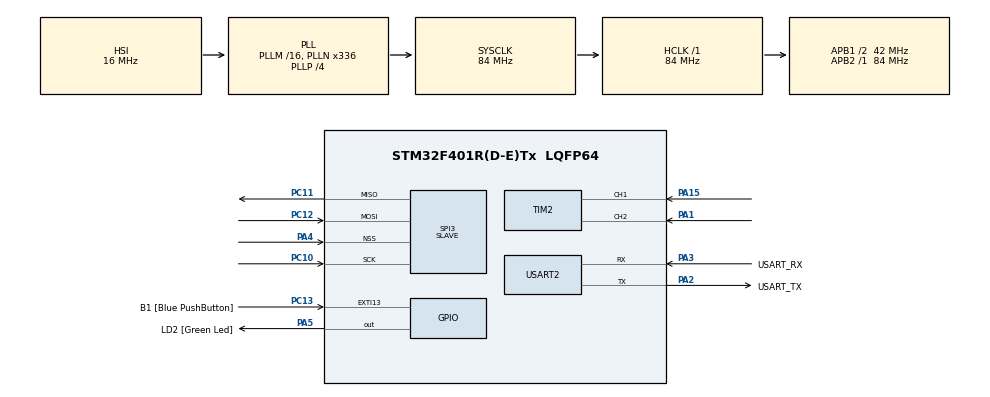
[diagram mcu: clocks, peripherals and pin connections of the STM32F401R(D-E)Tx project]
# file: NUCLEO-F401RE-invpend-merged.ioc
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Dma.Request0=SPI3_RX
Dma.Request1=SPI3_TX
Dma.SPI3_RX.0.Direction=DMA_PERIPH_TO_MEMORY
Dma.SPI3_RX.0.FIFOMode=DMA_FIFOMODE_DISABLE
Dma.SPI3_RX.0.Instance=DMA1_Stream0
Dma.SPI3_RX.0.MemDataAlignment=DMA_MDATAALIGN_BYTE
Dma.SPI3_RX.0.MemInc=DMA_MINC_ENABLE
Dma.SPI3_RX.0.Mode=DMA_CIRCULAR
Dma.SPI3_RX.0.PeriphDataAlignment=DMA_PDATAALIGN_BYTE
Dma.SPI3_RX.0.PeriphInc=DMA_PINC_DISABLE
Dma.SPI3_RX.0.Priority=DMA_PRIORITY_VERY_HIGH
Dma.SPI3_TX.1.Direction=DMA_MEMORY_TO_PERIPH
Dma.SPI3_TX.1.FIFOMode=DMA_FIFOMODE_DISABLE
Dma.SPI3_TX.1.Instance=DMA1_Stream5
Dma.SPI3_TX.1.MemDataAlignment=DMA_MDATAALIGN_BYTE
Dma.SPI3_TX.1.MemInc=DMA_MINC_ENABLE
Dma.SPI3_TX.1.Mode=DMA_CIRCULAR
Dma.SPI3_TX.1.PeriphDataAlignment=DMA_PDATAALIGN_BYTE
Dma.SPI3_TX.1.PeriphInc=DMA_PINC_DISABLE
Dma.SPI3_TX.1.Priority=DMA_PRIORITY_VERY_HIGH
Mcu.Family=STM32F4
Mcu.Name=STM32F401R(D-E)Tx
Mcu.Package=LQFP64
NVIC.DMA1_Stream0_IRQn=true\:0\:0\:false\:false\:true\:false\:true\:true
NVIC.DMA1_Stream5_IRQn=true\:0\:0\:false\:false\:true\:false\:true\:true
NVIC.PriorityGroup=NVIC_PRIORITYGROUP_4
NVIC.USART2_IRQn=true\:0\:0\:false\:false\:true\:true\:true\:true
PA1.GPIO_PuPd=GPIO_PULLUP
PA1.Signal=S_TIM2_CH2
PA13.GPIO_Label=TMS
PA13.Mode=Trace_Asynchronous_SW
PA13.Signal=SYS_JTMS-SWDIO
PA14.GPIO_Label=TCK
PA14.Mode=Trace_Asynchronous_SW
PA14.Signal=SYS_JTCK-SWCLK
PA15.GPIO_PuPd=GPIO_PULLUP
PA15.Signal=S_TIM2_CH1_ETR
PA2.GPIO_Label=USART_TX
PA2.GPIO_Mode=GPIO_MODE_AF_PP
PA2.GPIO_PuPd=GPIO_NOPULL
PA2.GPIO_Speed=GPIO_SPEED_FREQ_LOW
PA2.Mode=Asynchronous
PA2.Signal=USART2_TX
PA3.GPIO_Label=USART_RX
PA3.GPIO_Mode=GPIO_MODE_AF_PP
PA3.GPIO_PuPd=GPIO_NOPULL
PA3.GPIO_Speed=GPIO_SPEED_FREQ_LOW
PA3.Mode=Asynchronous
PA3.Signal=USART2_RX
PA4.Mode=NSS_Signal_Hard_Input
PA4.Signal=SPI3_NSS
PA5.GPIO_Label=LD2 [Green Led]
PA5.GPIO_Mode=GPIO_MODE_OUTPUT_PP
PA5.GPIO_PuPd=GPIO_NOPULL
PA5.GPIO_Speed=GPIO_SPEED_FREQ_LOW
PA5.Signal=GPIO_Output
PB3.GPIO_Label=SWO
PB3.Mode=Trace_Asynchronous_SW
PB3.Signal=SYS_JTDO-SWO
PC10.Mode=Full_Duplex_Slave
PC10.Signal=SPI3_SCK
PC11.Mode=Full_Duplex_Slave
PC11.Signal=SPI3_MISO
PC12.Mode=Full_Duplex_Slave
PC12.Signal=SPI3_MOSI
PC13-ANTI_TAMP.GPIO_Label=B1 [Blue PushButton]
PC13-ANTI_TAMP.GPIO_ModeDefaultEXTI=GPIO_MODE_IT_FALLING
PC13-ANTI_TAMP.GPIO_PuPd=GPIO_NOPULL
PC13-ANTI_TAMP.Signal=GPXTI13
PC14-OSC32_IN.Mode=LSE-External-Oscillator
PC14-OSC32_IN.Signal=RCC_OSC32_IN
PC15-OSC32_OUT.Mode=LSE-External-Oscillator
PC15-OSC32_OUT.Signal=RCC_OSC32_OUT
PH0\ -\ OSC_IN.Mode=HSE-External-Clock-Source
PH0\ -\ OSC_IN.Signal=RCC_OSC_IN
PH1\ -\ OSC_OUT.Mode=HSE-External-Clock-Source
PH1\ -\ OSC_OUT.Signal=RCC_OSC_OUT
ProjectManager.HeapSize=0x200
ProjectManager.StackSize=0x400
ProjectManager.TargetToolchain=STM32CubeIDE
RCC.48MHZClocksFreq_Value=48000000
RCC.AHBFreq_Value=84000000
RCC.APB1CLKDivider=RCC_HCLK_DIV2
RCC.APB1Freq_Value=42000000
RCC.APB1TimFreq_Value=84000000
RCC.APB2Freq_Value=84000000
RCC.APB2TimFreq_Value=84000000
RCC.CortexFreq_Value=84000000
RCC.HCLKFreq_Value=84000000
RCC.HSE_VALUE=8000000
RCC.HSI_VALUE=16000000
RCC.PLLN=336
RCC.PLLP=RCC_PLLP_DIV4
RCC.PLLQ=7
RCC.SYSCLKFreq_VALUE=84000000
RCC.SYSCLKSource=RCC_SYSCLKSOURCE_PLLCLK
RCC.VCOOutputFreq_Value=336000000
SH.S_TIM2_CH1_ETR.0=TIM2_CH1,Encoder_Interface
SH.S_TIM2_CH2.0=TIM2_CH2,Encoder_Interface
SPI3.Direction=SPI_DIRECTION_2LINES
SPI3.Mode=SPI_MODE_SLAVE
SPI3.VirtualNSS=VM_NSSHARD
SPI3.VirtualType=VM_SLAVE
TIM2.EncoderMode=TIM_ENCODERMODE_TI12
USART2.VirtualMode=VM_ASYNC
board=NUCLEO-F401RE

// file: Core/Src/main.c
/* USER CODE BEGIN Header */
/**
  ******************************************************************************
  * @file           : main.c
  * @brief          : Main program body
  ******************************************************************************
  * @attention
  *
  * Copyright (c) 2024 STMicroelectronics.
  * All rights reserved.
  *
  * This software is licensed under terms that can be found in the LICENSE file
  * in the root directory of this software component.
  * If no LICENSE file comes with this software, it is provided AS-IS.
  *
  ******************************************************************************
  */
/* USER CODE END Header */
#include "main.h"

SPI_HandleTypeDef hspi3;
DMA_HandleTypeDef hdma_spi3_rx;
DMA_HandleTypeDef hdma_spi3_tx;

TIM_HandleTypeDef htim2;

UART_HandleTypeDef huart2;

/* USER CODE BEGIN PV */

char uart_buf[UART_BUFFER_SIZE];
int  uart_buf_len;
// Global flags
volatile uint8_t uart_xmit_flag = 0;
volatile uint8_t uart_err_flag = 0;
volatile uint8_t spi_txrx_flag = 0;
volatile uint8_t spi_err_flag = 0;

static uint8_t spi_rx_buf[SPI_BUFFER_SIZE];
static uint8_t spi_tx_buf[SPI_BUFFER_SIZE];
static int16_t recv_number1=0;   // stepper motor acceleration command in steps/s^2
static int16_t recv_number2=0;   // no use for this yet
static int16_t recv_number3=0;   // no use for this yet
static int16_t send_number1=0;	   // encoder position in increments
static int16_t send_number2=0;       // stepper motor angle in microsteps
static int16_t send_number3=0;	   // stepper motor angle in microsteps per second

static int16_t accel_cmd = 0;
static int32_t encoder_pos=0;
static int32_t rotor_pos=0;
static int16_t rotor_vel=0;

static uint16_t rotor_pos_cnt=0;

static volatile uint16_t gLastError;

L6474_Init_t gL6474InitParams =
{
	MAX_ACCEL,           	/// Acceleration rate in step/s2. Range: (0..+inf).
	MAX_DECEL,           	/// Deceleration rate in step/s2. Range: (0..+inf).
	MAX_SPEED,              /// Maximum speed in step/s. Range: (30..10000].
	MIN_SPEED,              /// Minimum speed in step/s. Range: [30..10000).
	MAX_TORQUE_CONFIG, 		/// Torque regulation current in mA. (TVAL register) Range: 31.25mA to 4000mA.
	OVERCURRENT_THRESHOLD, 	/// Overcurrent threshold (OCD_TH register). Range: 375mA to 6000mA.
   L6474_CONFIG_OC_SD_ENABLE,         ///Overcurrent shutwdown (OC_SD field of CONFIG register).
   L6474_CONFIG_EN_TQREG_TVAL_USED,   /// Torque regulation method (EN_TQREG field of CONFIG register).
   L6474_STEP_SEL_1_16,               /// Step selection (STEP_SEL field of STEP_MODE register).
   L6474_SYNC_SEL_1_2,                /// Sync selection (SYNC_SEL field of STEP_MODE register).
   L6474_FAST_STEP_12us,              /// Fall time value (T_FAST field of T_FAST register). Range: 2us to 32us.
   L6474_TOFF_FAST_8us,               /// Maximum fast decay time (T_OFF field of T_FAST register). Range: 2us to 32us.
   3,                                 /// Minimum ON time in us (TON_MIN register). Range: 0.5us to 64us.
   21,                                /// Minimum OFF time in us (TOFF_MIN register). Range: 0.5us to 64us.
   L6474_CONFIG_TOFF_044us,           /// Target Swicthing Period (field TOFF of CONFIG register).
   L6474_CONFIG_SR_320V_us,           /// Slew rate (POW_SR field of CONFIG register).
   L6474_CONFIG_INT_16MHZ,            /// Clock setting (OSC_CLK_SEL field of CONFIG register).
   (L6474_ALARM_EN_OVERCURRENT      |
    L6474_ALARM_EN_THERMAL_SHUTDOWN |
    L6474_ALARM_EN_THERMAL_WARNING  |
    L6474_ALARM_EN_UNDERVOLTAGE     |
    L6474_ALARM_EN_SW_TURN_ON       |
    L6474_ALARM_EN_WRONG_NPERF_CMD)    /// Alarm (ALARM_EN register).
};

/* USER CODE END PV */

void SystemClock_Config(void);
static void MX_GPIO_Init(void);
static void MX_DMA_Init(void);
static void MX_USART2_UART_Init(void);
static void MX_SPI3_Init(void);
static void MX_TIM2_Init(void);
/* USER CODE BEGIN PFP */
uint8_t encoder_position_read(Quadrature_Encoder_TypeDef *encoder, TIM_HandleTypeDef *htim3);
static void MyFlagInterruptHandler(void);
int32_t swap_Endians_32(int32_t value);
int16_t swap_Endians_16(int16_t value);
void Debug_TimerStatus(void);
/* USER CODE END PFP */

int main(void)
{

  /* USER CODE BEGIN 1 */
  uint8_t encoder_range_error;

  uint8_t state_main = START_STATE_MAIN;
  //uint32_t state_main_counter = 0; // counts the amount of times the same state was entered
  uint32_t state_cycle_cnt = 0; // counts the amount of times the circular part of the main state machine is looped
  static Chrono_TypeDef main_cycletimer= {0,0,0.0}; //Chronometer for circular part of the main state machine
 // uint8_t state_uart = 0;
  uint32_t err_cnt = 0;
  uint32_t overtime_cnt = 0;

  for(int i=0;i<SPI_BUFFER_SIZE;i++)
  {
	  spi_rx_buf[i]=0;
	  spi_tx_buf[i]=0;
  }

  //Declare and initialize encoder
  Quadrature_Encoder_TypeDef encoder_inst = {0,0,0,0,0,0,0,0,0,0,0,0,0,FALSE,FALSE,FALSE,COUNTS_PER_TURN};

  /* USER CODE END 1 */

  /* MCU Configuration--------------------------------------------------------*/

  /* Reset of all peripherals, Initializes the Flash interface and the Systick. */
  HAL_Init();

  /* Configure the system clock */
  SystemClock_Config();

  /* USER CODE BEGIN SysInit */
  MX_GPIO_Init();
  //----- Init of the Motor control library
  /* Set the L6474 library to use 1 device */
	BSP_MotorControl_SetNbDevices(BSP_MOTOR_CONTROL_BOARD_ID_L6474, 1);
	/* When BSP_MotorControl_Init is called with NULL pointer,                  */
	/* the L6474 registers and parameters are set with the predefined values from file   */
	/* l6474_target_config.h, otherwise the registers are set using the   */
	/* L6474_Init_t pointer structure                */
	/* The first call to BSP_MotorControl_Init initializes the first device     */
	/* whose Id is 0.                                                           */
	/* The nth call to BSP_MotorControl_Init initializes the nth device         */
	/* whose Id is n-1.                                                         */
	/* Uncomment the call to BSP_MotorControl_Init below to initialize the      */
	/* device with the structure gL6474InitParams declared in the the main.c file */
	/* and comment the subsequent call having the NULL pointer                   */
	BSP_MotorControl_Init(BSP_MOTOR_CONTROL_BOARD_ID_L6474, &gL6474InitParams);
	//BSP_MotorControl_Init(BSP_MOTOR_CONTROL_BOARD_ID_L6474, NULL);

  /* Attach the function MyFlagInterruptHandler (defined below) to the flag interrupt */
  BSP_MotorControl_AttachFlagInterrupt(MyFlagInterruptHandler);

  /* Attach the function Error_Handler (defined below) to the error Handler*/

  // wake-up move
  /*
  BSP_MotorControl_AttachErrorHandler(Error_Handler);
  BSP_MotorControl_SetHome(0, 0);
  BSP_MotorControl_GoTo(0, 100);
  BSP_MotorControl_WaitWhileActive(0);
  BSP_MotorControl_GoTo(0, 0);
  BSP_MotorControl_WaitWhileActive(0);
  HAL_Delay(2000); // wait for pendulum to settle
  */

  //initialize acceleration control
  Init_L6472_Acceleration_Control(&gL6474InitParams, T_SAMPLE);

  //init chronometer
  Chrono_Init();

  /* USER CODE END SysInit */

  /* Initialize all configured peripherals */
  //MX_GPIO_Init();
  MX_DMA_Init();
  MX_USART2_UART_Init();
  MX_SPI3_Init();
  MX_TIM2_Init();
  /* USER CODE BEGIN 2 */

  // Say something
  uart_buf_len = sprintf(uart_buf, "Hello world!\r\n");
  HAL_UART_Transmit(&huart2, (uint8_t *)uart_buf, uart_buf_len, 100);

  // Initialize encoder
  HAL_TIM_Encoder_Start(&htim2, TIM_CHANNEL_ALL);

  // Start RX DMA in Circular Mode
  if (HAL_SPI_TransmitReceive_DMA(&hspi3, spi_tx_buf, spi_rx_buf, SPI_BUFFER_SIZE) != HAL_OK)
  {
      Error_Handler(51); // Handle initialization error
  }

  /* USER CODE END 2 */

  /* Infinite loop */
  while (1)
  {

    /* USER CODE BEGIN 3 */

	  // UART state machine
	  /*
		switch (state_uart)
		{
		  case 0:
			  // Idle
			  if ((suc_cnt % UART_DECIMATION) == 0 && suc_cnt != 0 )
			  {
				  state_uart = 1;
			  }
			  break;

		  case 1:

			// Print newline
				switch(HAL_UART_Getstate(&huart2))
				{
				case HAL_UART_state_READY:
					uart_buf_len = sprintf(uart_buf, "success: %d, errors: %d, motcmd = %.3f, encoder = %.3f, motfb = %.3f \r\n", (unsigned int)suc_cnt, (unsigned int)err_cnt, recv_number1, send_number1, send_number2);
					HAL_UART_Transmit_IT(&huart2, (uint8_t *)uart_buf, uart_buf_len);

				default:
				  break;
				}

			state_uart = 0;
			break;

		  case 2:
			  // wait for transmit flag
			  if (uart_xmit_flag)
			  {
				  uart_xmit_flag =0;
				  state_uart = 0;
				  break;
			  }
			  if (uart_err_flag && HAL_UART_Getstate(&huart2) == HAL_UART_state_READY)
			  {
			  // Clear flag and try again
				uart_err_flag = 0;
				state_uart = 1;
				break;
			  }
		  default:
			break;

		} //close switch
		*/
		//-----------------------------------------------
		switch(state_main)
		{
		// sequential states
		//-------------------
		  case 0:
			  // START state: wait for DMA SPI to have valid date
			  if (spi_txrx_flag == 1){
				  state_main=1;
				  Chrono_Mark(&main_cycletimer);
				  uart_buf_len = sprintf(uart_buf, "SPI connection established. Starting system... \r\n");
				  HAL_UART_Transmit(&huart2, (uint8_t *)uart_buf, uart_buf_len, 100);
			  }
			  break;
		// looping states
		//-----------------
		  case 1:
			// Read encoder
			encoder_range_error = encoder_position_read(&encoder_inst, &htim2);
			encoder_pos = encoder_inst.position_steps;

			// read rotor position
			if (rotor_pos_cnt % STEPPER_POSITION_DECIMATION == 0) {
				rotor_pos_cnt = 0;
				rotor_pos = GetPosition_L6472_Acceleration_Control();
			}
			rotor_pos_cnt++;

			// read rotor velocity
			rotor_vel = GetVelocity_L6472_Acceleration_Control();

			__disable_irq();
			send_number1 = swap_Endians_16((int16_t)encoder_pos);
			send_number2 = swap_Endians_16((int16_t)rotor_pos);
			send_number3 = swap_Endians_16(rotor_vel);
			__enable_irq();

			state_main++;
			break;
		  case 2:
			if (spi_txrx_flag == 1){
				spi_txrx_flag = 0;
				state_main=4;
				__disable_irq();
				accel_cmd = swap_Endians_16(recv_number1);
				__enable_irq();
			}
			// keep track of waiting time in this state
			if (Chrono_GetDiffNoMark(&main_cycletimer) > 1.5 * T_SAMPLE) {
				 overtime_cnt++;
				 state_main=3;
				 uart_buf_len = sprintf(uart_buf, "overtime: %" PRIu32 "\r\n", overtime_cnt);
				 //uart_buf_len = sprintf(uart_buf, "overtime: %u\r\n", overtime_cnt);
				 HAL_UART_Transmit_IT(&huart2, (uint8_t *)uart_buf, uart_buf_len);
			 }
			break;

		  case 3:
			  // keep periodically reading rotor to check for overrange
			 if (Chrono_GetDiffNoMark(&main_cycletimer) > 0.05) {
				 Chrono_Mark(&main_cycletimer);
				 rotor_pos = GetPosition_L6472_Acceleration_Control();
			 }
			if (spi_txrx_flag == 1){
				spi_txrx_flag = 0;
				Chrono_Mark(&main_cycletimer);
				state_main=4;
				__disable_irq();
				accel_cmd = swap_Endians_16(recv_number1);
				__enable_irq();
			}
			break;
		  case 4:
			  // control actions

#ifdef POSITION_CONTROL
				//run control if motor inactive or standby
				if(BSP_MotorControl_GetDevicestate(0) >= 8) {
					BSP_MotorControl_GoTo(0, (int32_t) (accel_cmd));
				}
#endif
#ifdef ACCELERATION_CONTROL

				Run_L6472_Acceleration_Control(accel_cmd);
				//Debug_TimerStatus();
#endif
				state_main = 1;
				state_cycle_cnt++;
				Chrono_Mark(&main_cycletimer);
			  break;
		  case 50:
			  // Rotor out of safe range
			  BSP_MotorControl_HardStop(0);
			  uart_buf_len = sprintf(uart_buf, "Error 50: Rotor out of safe range\r\n");
			  HAL_UART_Transmit(&huart2, (uint8_t *)uart_buf, uart_buf_len, 100);
			  state_main=99;
		  case 99:
			  ;// do nothting wait state
		  default:
			  break;
		}

		// update ARR of PWM timer when count is close to 0
		PostProcess_StepClockHandler_L6472_Acceleration_Control();

		// Error checks
		if (state_main!=99 && (float)labs(rotor_pos) > MAX_DEFLECTION_REV * STEPS_PER_TURN) {
			// go to error state 50
			state_main = 50;
			}
	  // count any communication errors
	  if (spi_err_flag)
	  {
		err_cnt++;
		spi_err_flag = 0; // Clear flag

	   }

  } // close while(1)
  /* USER CODE END 3 */
}

void SystemClock_Config(void)
{
  RCC_OscInitTypeDef RCC_OscInitStruct = {0};
  RCC_ClkInitTypeDef RCC_ClkInitStruct = {0};

  /** Configure the main internal regulator output voltage
  */
  __HAL_RCC_PWR_CLK_ENABLE();
  __HAL_PWR_VOLTAGESCALING_CONFIG(PWR_REGULATOR_VOLTAGE_SCALE2);

  /** Initializes the RCC Oscillators according to the specified parameters
  * in the RCC_OscInitTypeDef structure.
  */
  RCC_OscInitStruct.OscillatorType = RCC_OSCILLATORTYPE_HSI;
  RCC_OscInitStruct.HSIState = RCC_HSI_ON;
  RCC_OscInitStruct.HSICalibrationValue = RCC_HSICALIBRATION_DEFAULT;
  RCC_OscInitStruct.PLL.PLLState = RCC_PLL_ON;
  RCC_OscInitStruct.PLL.PLLSource = RCC_PLLSOURCE_HSI;
  RCC_OscInitStruct.PLL.PLLM = 16;
  RCC_OscInitStruct.PLL.PLLN = 336;
  RCC_OscInitStruct.PLL.PLLP = RCC_PLLP_DIV4;
  RCC_OscInitStruct.PLL.PLLQ = 7;
  if (HAL_RCC_OscConfig(&RCC_OscInitStruct) != HAL_OK)
  {
    Error_Handler(0);
  }

  /** Initializes the CPU, AHB and APB buses clocks
  */
  RCC_ClkInitStruct.ClockType = RCC_CLOCKTYPE_HCLK|RCC_CLOCKTYPE_SYSCLK
                              |RCC_CLOCKTYPE_PCLK1|RCC_CLOCKTYPE_PCLK2;
  RCC_ClkInitStruct.SYSCLKSource = RCC_SYSCLKSOURCE_PLLCLK;
  RCC_ClkInitStruct.AHBCLKDivider = RCC_SYSCLK_DIV1;
  RCC_ClkInitStruct.APB1CLKDivider = RCC_HCLK_DIV2;
  RCC_ClkInitStruct.APB2CLKDivider = RCC_HCLK_DIV1;

  if (HAL_RCC_ClockConfig(&RCC_ClkInitStruct, FLASH_LATENCY_2) != HAL_OK)
  {
    Error_Handler(1);
  }
}

static void MX_SPI3_Init(void)
{

  /* SPI3 parameter configuration*/
  hspi3.Instance = SPI3;
  hspi3.Init.Mode = SPI_MODE_SLAVE;
  hspi3.Init.Direction = SPI_DIRECTION_2LINES;
  hspi3.Init.DataSize = SPI_DATASIZE_8BIT;
  hspi3.Init.CLKPolarity = SPI_POLARITY_LOW;
  hspi3.Init.CLKPhase = SPI_PHASE_1EDGE;
  hspi3.Init.NSS = SPI_NSS_HARD_INPUT;
  hspi3.Init.FirstBit = SPI_FIRSTBIT_MSB;
  hspi3.Init.TIMode = SPI_TIMODE_DISABLE;
  hspi3.Init.CRCCalculation = SPI_CRCCALCULATION_DISABLE;
  hspi3.Init.CRCPolynomial = 10;
  if (HAL_SPI_Init(&hspi3) != HAL_OK)
  {
    Error_Handler(10);
  }

}

static void MX_TIM2_Init(void)
{

  TIM_Encoder_InitTypeDef sConfig = {0};
  TIM_MasterConfigTypeDef sMasterConfig = {0};

  htim2.Instance = TIM2;
  htim2.Init.Prescaler = 0;
  htim2.Init.CounterMode = TIM_COUNTERMODE_UP;
  htim2.Init.Period = 4294967295;
  htim2.Init.ClockDivision = TIM_CLOCKDIVISION_DIV1;
  htim2.Init.AutoReloadPreload = TIM_AUTORELOAD_PRELOAD_DISABLE;
  sConfig.EncoderMode = TIM_ENCODERMODE_TI12;
  sConfig.IC1Polarity = TIM_ICPOLARITY_RISING;
  sConfig.IC1Selection = TIM_ICSELECTION_DIRECTTI;
  sConfig.IC1Prescaler = TIM_ICPSC_DIV1;
  sConfig.IC1Filter = 0;
  sConfig.IC2Polarity = TIM_ICPOLARITY_RISING;
  sConfig.IC2Selection = TIM_ICSELECTION_DIRECTTI;
  sConfig.IC2Prescaler = TIM_ICPSC_DIV1;
  sConfig.IC2Filter = 0;
  if (HAL_TIM_Encoder_Init(&htim2, &sConfig) != HAL_OK)
  {
    Error_Handler(21);
  }
  sMasterConfig.MasterOutputTrigger = TIM_TRGO_RESET;
  sMasterConfig.MasterSlaveMode = TIM_MASTERSLAVEMODE_DISABLE;
  if (HAL_TIMEx_MasterConfigSynchronization(&htim2, &sMasterConfig) != HAL_OK)
  {
    Error_Handler(22);
  }

}

static void MX_USART2_UART_Init(void)
{

  huart2.Instance = USART2;
  huart2.Init.BaudRate = 115200;
  huart2.Init.WordLength = UART_WORDLENGTH_8B;
  huart2.Init.StopBits = UART_STOPBITS_1;
  huart2.Init.Parity = UART_PARITY_NONE;
  huart2.Init.Mode = UART_MODE_TX_RX;
  huart2.Init.HwFlowCtl = UART_HWCONTROL_NONE;
  huart2.Init.OverSampling = UART_OVERSAMPLING_16;
  if (HAL_UART_Init(&huart2) != HAL_OK)
  {
    Error_Handler(30);
  }

}

static void MX_DMA_Init(void)
{

  /* DMA controller clock enable */
  __HAL_RCC_DMA1_CLK_ENABLE();

  /* DMA interrupt init */
  /* DMA1_Stream0_IRQn interrupt configuration */
  HAL_NVIC_SetPriority(DMA1_Stream0_IRQn, 0, 0);
  HAL_NVIC_EnableIRQ(DMA1_Stream0_IRQn);
  /* DMA1_Stream5_IRQn interrupt configuration */
  HAL_NVIC_SetPriority(DMA1_Stream5_IRQn, 0, 0);
  HAL_NVIC_EnableIRQ(DMA1_Stream5_IRQn);

}

static void MX_GPIO_Init(void)
{
  GPIO_InitTypeDef GPIO_InitStruct = {0};

  /* GPIO Ports Clock Enable */
  __HAL_RCC_GPIOC_CLK_ENABLE();
  __HAL_RCC_GPIOH_CLK_ENABLE();
  __HAL_RCC_GPIOA_CLK_ENABLE();
  __HAL_RCC_GPIOB_CLK_ENABLE();

  /*Configure GPIO pin Output Level */
  HAL_GPIO_WritePin(LD2_GPIO_Port, LD2_Pin, GPIO_PIN_RESET);

  /*Configure GPIO pin : B1_Pin */
  GPIO_InitStruct.Pin = B1_Pin;
  GPIO_InitStruct.Mode = GPIO_MODE_IT_FALLING;
  GPIO_InitStruct.Pull = GPIO_NOPULL;
  HAL_GPIO_Init(B1_GPIO_Port, &GPIO_InitStruct);

  /*Configure GPIO pin : LD2_Pin */
  GPIO_InitStruct.Pin = LD2_Pin;
  GPIO_InitStruct.Mode = GPIO_MODE_OUTPUT_PP;
  GPIO_InitStruct.Pull = GPIO_NOPULL;
  GPIO_InitStruct.Speed = GPIO_SPEED_FREQ_LOW;
  HAL_GPIO_Init(LD2_GPIO_Port, &GPIO_InitStruct);

}

/* USER CODE BEGIN 4 */
/*
 * Encoder position read (returns signed integer)
 *
 * Includes capability for tracking pendulum excursion for Swing Up control.
 * This is developed and provided by Markus Dauberschmidt.  Please see
 * https://github.com/OevreFlataeker/steval_edukit_swingup
 *
 */

uint8_t encoder_position_read(Quadrature_Encoder_TypeDef *encoder, TIM_HandleTypeDef *htim) {

	int range_error = 0;

	 // Read current counter value
	    encoder->cnt3 = __HAL_TIM_GET_COUNTER(htim);

	    // Calculate delta explicitly with rollover handling
	    int32_t delta = (int32_t)(encoder->cnt3 - encoder->previous_cnt3);

	    encoder->position_steps += delta;

	    // Update previous counter
	    encoder->previous_cnt3 = encoder->cnt3;

	    // Handle range limits
	    if (encoder->position_steps < INT32_MIN) {
	        range_error = -1;
	        encoder->position_steps = INT32_MIN;
	    } else if (encoder->position_steps > INT32_MAX) {
	        range_error = 1;
	        encoder->position_steps = INT32_MAX;
	    }

	    // Subtract zeroing offset
	    encoder->position_steps -= encoder->position_init;

	    // Calculate position in revolutions
	    encoder->position = (float)encoder->position_steps / (float)encoder->counts_per_turn;

	/*
	 *  Detect if we passed the bottom, then re-arm peak flag
	 *  oppositeSigns returns true when we pass the bottom position
	 */

	if (__HAS_OPPOSITE_SIGNS(encoder->position_steps, encoder->previous_position))
	{
		encoder->peaked = FALSE;
		encoder->zero_crossed = TRUE;
	}

	if (!encoder->peaked) // We don't need to evaluate anymore if we hit a maximum when we're still in downward motion and didn't cross the minimum
	{
		// Add global maximum
		if (labs(encoder->position_steps) >= labs(encoder->global_max_position))
		{
			encoder->global_max_position = encoder->position_steps;
		}
		// Check if new maximum
		if (labs(encoder->position_steps) >= labs(encoder->max_position))
		{
			encoder->max_position = encoder->position_steps;
		}
		else
		{
			// We are at the peak and disable further checks until we traversed the minimum position again
			encoder->peaked = TRUE;
			encoder->handled_peak = FALSE;
		}
	}

	encoder->previous_position = encoder->position_steps;

	return range_error;
}

__STATIC_INLINE void DWT_Delay_us(volatile uint32_t microseconds)
{
	uint32_t clk_cycle_start = DWT->CYCCNT;

	/* Go to number of cycles for system */
	microseconds *= (RCC_HCLK_FREQ / 1000000);

	/* Delay till end */
	while ((DWT->CYCCNT - clk_cycle_start) < microseconds);
}

__STATIC_INLINE void DWT_Delay_until_cycle(volatile uint32_t cycle)
{
	while (DWT->CYCCNT < cycle);
}

int32_t swap_Endians_32(int32_t value)
{

	int32_t leftmost_byte;
	int32_t left_middle_byle;
	int32_t right_middle_byte;
	int32_t rightmost_byte;

	int32_t result;

    leftmost_byte = (value & 0x000000FF) >> 0;
    left_middle_byle = (value & 0x0000FF00) >> 8;
    right_middle_byte = (value & 0x00FF0000) >> 16;
    rightmost_byte = (value & 0xFF000000) >> 24;
    leftmost_byte <<= 24;
    left_middle_byle <<= 16;
    right_middle_byte <<= 8;
    rightmost_byte <<= 0;

    result = (leftmost_byte | left_middle_byle
              | right_middle_byte | rightmost_byte);

    return result;
}

int16_t swap_Endians_16(int16_t value)
{

	int16_t leftmost_byte;
	int16_t rightmost_byte;

	int16_t result;

    leftmost_byte = (value & 0x00FF) >> 0;
    rightmost_byte = (value & 0xFF00) >> 8;
    leftmost_byte <<= 8;
    rightmost_byte <<= 0;

    result = (leftmost_byte | rightmost_byte);

    return result;
}

void Debug_TimerStatus(void) {
    static uint32_t lastDebugTime = 0; // Timestamp of last debug print
    uint32_t currentTime = HAL_GetTick(); // Current system time in milliseconds
    TIM_HandleTypeDef hTimPwm1 = L6474_Board_Pwm1GetHandle();

   // Print debug information at most every 500 ms
   if ((currentTime - lastDebugTime) >= 500 && uart_xmit_flag == 1) {
	   uint32_t CNT = hTimPwm1.Instance->CNT;
	   uint32_t ARR = hTimPwm1.Instance->ARR;
	   uint32_t PSC = hTimPwm1.Instance->PSC;
	   uint32_t SR = hTimPwm1.Instance->SR;
	   uint32_t DIER = hTimPwm1.Instance->DIER;

	   // Combine all debug information into a single string
	   int uart_buf_len = sprintf(
		   uart_buf,
		   "==== Timer Debug Info ====\r\n"
		   "CNT: %lu, ARR: %lu, PSC: %lu, SR: 0x%lX, DIER: 0x%lX\r\n"
		   "==========================\r\n",
		   CNT, ARR, PSC, SR, DIER
	   );

	   // Initiate non-blocking UART transmission
	   if (HAL_UART_Transmit_IT(&huart2, (uint8_t *)uart_buf, uart_buf_len) == HAL_OK) {
		   uart_xmit_flag = 0; // Mark UART as busy
	   }

	   lastDebugTime = currentTime; // Update the timestamp
   }
}

//------------------------------------------------------
// Callbacks

void HAL_SPI_TxRxCpltCallback (SPI_HandleTypeDef * hspi)
{
	spi_txrx_flag = 1;
	// copy send_numberx to tx buffer
	memcpy(&spi_tx_buf[0], &send_number1 , 2);
	memcpy(&spi_tx_buf[2], &send_number2 , 2);
	memcpy(&spi_tx_buf[4], &send_number3 , 2);
	// copy rx buffer to recv_numberx
	memcpy(&recv_number1, &spi_rx_buf[0], 2);
	memcpy(&recv_number2, &spi_rx_buf[2], 2);
	memcpy(&recv_number3, &spi_rx_buf[4], 2);

}

void HAL_SPI_ErrorCallback (SPI_HandleTypeDef * hspi)
{
  // raise flag
  spi_err_flag = 1;
}

void HAL_UART_TxCpltCallback (UART_HandleTypeDef * huart)
{
  // raise flag
  uart_xmit_flag = 1;
}

void HAL_UART_ErrorCallback (UART_HandleTypeDef * huart)
{
  // Set CS pin to high and raise flag
	uart_err_flag = 1;
}

void MyFlagInterruptHandler(void)
{
  /* Get the value of the status register via the L6474 command GET_STATUS */
  uint16_t statusRegister = BSP_MotorControl_CmdGetStatus(0);

  /* Check HIZ flag: if set, power brigdes are disabled */
  if ((statusRegister & L6474_STATUS_HIZ) == L6474_STATUS_HIZ)
  {
    // HIZ state
    // Action to be customized
  }

  /* Check direction bit */
  if ((statusRegister & L6474_STATUS_DIR) == L6474_STATUS_DIR)
  {
    // Forward direction is set
    // Action to be customized
  }
  else
  {
    // Backward direction is set
    // Action to be customized
  }

  /* Check NOTPERF_CMD flag: if set, the command received by SPI can't be performed */
  /* This often occures when a command is sent to the L6474 */
  /* while it is in HIZ state */
  if ((statusRegister & L6474_STATUS_NOTPERF_CMD) == L6474_STATUS_NOTPERF_CMD)
  {
      // Command received by SPI can't be performed
     // Action to be customized
  }

  /* Check WRONG_CMD flag: if set, the command does not exist */
  if ((statusRegister & L6474_STATUS_WRONG_CMD) == L6474_STATUS_WRONG_CMD)
  {
     //command received by SPI does not exist
     // Action to be customized
  }

  /* Check UVLO flag: if not set, there is an undervoltage lock-out */
  if ((statusRegister & L6474_STATUS_UVLO) == 0)
  {
     //undervoltage lock-out
     // Action to be customized
  }

  /* Check TH_WRN flag: if not set, the thermal warning threshold is reached */
  if ((statusRegister & L6474_STATUS_TH_WRN) == 0)
  {
    //thermal warning threshold is reached
    // Action to be customized
  }

  /* Check TH_SHD flag: if not set, the thermal shut down threshold is reached */
  if ((statusRegister & L6474_STATUS_TH_SD) == 0)
  {
    //thermal shut down threshold is reached
    // Action to be customized
  }

  /* Check OCD  flag: if not set, there is an overcurrent detection */
  if ((statusRegister & L6474_STATUS_OCD) == 0)
  {
    //overcurrent detection
    // Action to be customized
  }

}

/**
  * @brief  This function is executed in case of error occurrence.
  * @param  error number of the error
  * @retval None
  */
void Error_Handler(uint16_t error)
{
  /* Backup error number */
  gLastError = error;

  /* Infinite loop */
  while(1)
  {
  }
}
/* USER CODE END 4 */
